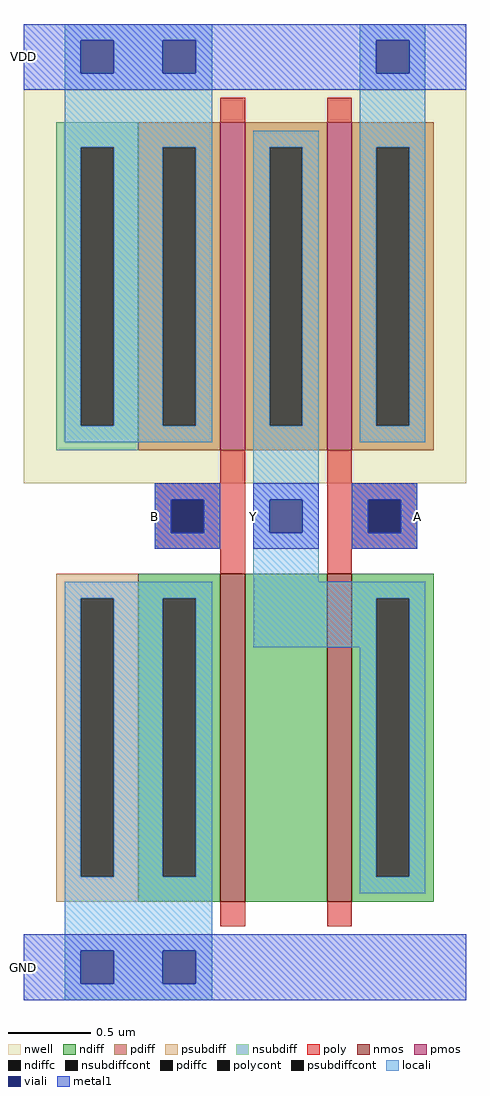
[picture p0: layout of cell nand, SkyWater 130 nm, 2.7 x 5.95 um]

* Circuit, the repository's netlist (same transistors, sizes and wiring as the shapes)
* NGSPICE file created from nand.ext - technology: sky130A

.subckt nand A B Y VDD GND
X0 Y B VDD VDD sky130_fd_pr__pfet_01v8 ad=0.5 pd=2.5 as=1 ps=5 w=2 l=0.15
**devattr s=10000,500 d=5000,250
X1 a_65_n195# B GND GND sky130_fd_pr__nfet_01v8 ad=0.5 pd=2.5 as=1 ps=5 w=2 l=0.15
**devattr s=10000,500 d=5000,250
X2 Y A a_65_n195# GND sky130_fd_pr__nfet_01v8 ad=1 pd=5 as=0.5 ps=2.5 w=2 l=0.15
**devattr s=5000,250 d=10000,500
X3 VDD A Y VDD sky130_fd_pr__pfet_01v8 ad=1 pd=5 as=0.5 ps=2.5 w=2 l=0.15
**devattr s=5000,250 d=10000,500
.ends

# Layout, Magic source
magic
tech sky130A
<< nwell >>
rect -70 60 200 300
<< nmos >>
rect 50 -195 65 5
rect 115 -195 130 5
<< pmos >>
rect 50 80 65 280
rect 115 80 130 280
<< ndiff >>
rect 0 -10 50 5
rect 0 -180 15 -10
rect 35 -180 50 -10
rect 0 -195 50 -180
rect 65 -195 115 5
rect 130 -10 180 5
rect 130 -180 145 -10
rect 165 -180 180 -10
rect 130 -195 180 -180
<< pdiff >>
rect 0 265 50 280
rect 0 95 15 265
rect 35 95 50 265
rect 0 80 50 95
rect 65 265 115 280
rect 65 95 80 265
rect 100 95 115 265
rect 65 80 115 95
rect 130 265 180 280
rect 130 95 145 265
rect 165 95 180 265
rect 130 80 180 95
<< ndiffc >>
rect 15 -180 35 -10
rect 145 -180 165 -10
<< pdiffc >>
rect 15 95 35 265
rect 80 95 100 265
rect 145 95 165 265
<< psubdiff >>
rect -50 -10 0 5
rect -50 -180 -35 -10
rect -15 -180 0 -10
rect -50 -195 0 -180
<< nsubdiff >>
rect -50 265 0 280
rect -50 95 -35 265
rect -15 95 0 265
rect -50 80 0 95
<< psubdiffcont >>
rect -35 -180 -15 -10
<< nsubdiffcont >>
rect -35 95 -15 265
<< poly >>
rect 50 280 65 295
rect 115 280 130 295
rect 50 60 65 80
rect 10 50 65 60
rect 10 30 20 50
rect 40 30 65 50
rect 10 20 65 30
rect 50 5 65 20
rect 115 60 130 80
rect 115 50 170 60
rect 115 30 140 50
rect 160 30 170 50
rect 115 20 170 30
rect 115 5 130 20
rect 50 -210 65 -195
rect 115 -210 130 -195
<< polycont >>
rect 20 30 40 50
rect 140 30 160 50
<< locali >>
rect -45 330 45 340
rect -45 310 -35 330
rect -15 310 15 330
rect 35 310 45 330
rect -45 265 45 310
rect 135 330 175 340
rect 135 310 145 330
rect 165 310 175 330
rect -45 95 -35 265
rect -15 95 15 265
rect 35 95 45 265
rect -45 85 45 95
rect 70 265 110 275
rect 70 95 80 265
rect 100 95 110 265
rect 10 50 50 60
rect 10 30 20 50
rect 40 30 50 50
rect 10 20 50 30
rect 70 50 110 95
rect 135 265 175 310
rect 135 95 145 265
rect 165 95 175 265
rect 135 85 175 95
rect 70 30 80 50
rect 100 30 110 50
rect 70 0 110 30
rect 130 50 170 60
rect 130 30 140 50
rect 160 30 170 50
rect 130 20 170 30
rect -45 -10 45 0
rect -45 -180 -35 -10
rect -15 -180 15 -10
rect 35 -180 45 -10
rect 70 -10 175 0
rect 70 -40 145 -10
rect -45 -225 45 -180
rect 135 -180 145 -40
rect 165 -180 175 -10
rect 135 -190 175 -180
rect -45 -245 -35 -225
rect -15 -245 15 -225
rect 35 -245 45 -225
rect -45 -255 45 -245
<< viali >>
rect -35 310 -15 330
rect 15 310 35 330
rect 145 310 165 330
rect 20 30 40 50
rect 80 30 100 50
rect 140 30 160 50
rect -35 -245 -15 -225
rect 15 -245 35 -225
<< metal1 >>
rect -70 330 200 340
rect -70 310 -35 330
rect -15 310 15 330
rect 35 310 145 330
rect 165 310 200 330
rect -70 300 200 310
rect 10 50 50 60
rect 10 30 20 50
rect 40 30 50 50
rect 10 20 50 30
rect 70 50 110 60
rect 70 30 80 50
rect 100 30 110 50
rect 70 20 110 30
rect 130 50 170 60
rect 130 30 140 50
rect 160 30 170 50
rect 130 20 170 30
rect -70 -225 200 -215
rect -70 -245 -35 -225
rect -15 -245 15 -225
rect 35 -245 200 -225
rect -70 -255 200 -245
<< labels >>
flabel metal1 -70 -235 -70 -235 7 FreeSans 80 0 -40 0 GND
port 5 w
flabel metal1 70 40 70 40 7 FreeSans 80 0 -40 0 Y
port 3 w
flabel metal1 -70 320 -70 320 7 FreeSans 80 0 -40 0 VDD
port 4 w
flabel metal1 170 40 170 40 3 FreeSans 80 0 40 0 A
port 1 e
flabel metal1 10 40 10 40 7 FreeSans 80 0 -40 0 B
port 2 w
<< end >>
